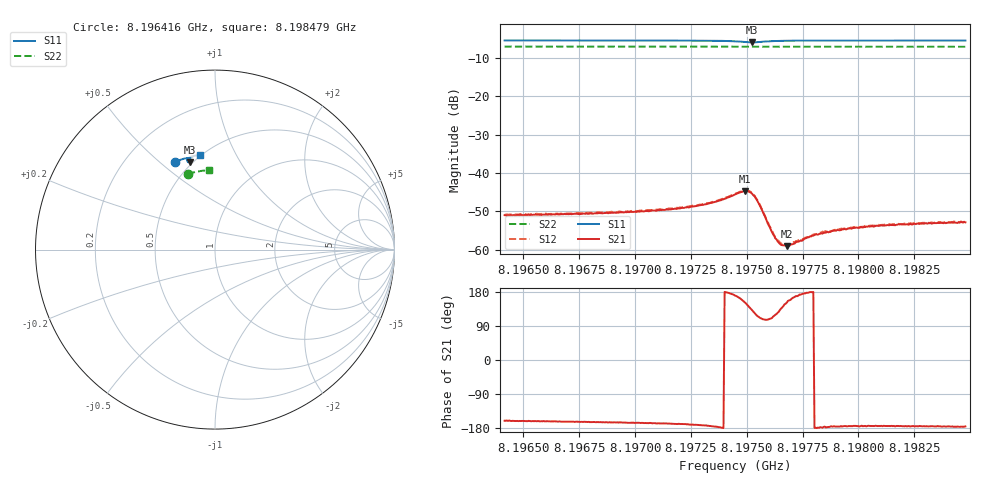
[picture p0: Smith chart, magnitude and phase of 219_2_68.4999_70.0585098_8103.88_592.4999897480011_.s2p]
#  HZ  S  RI  R  50.00
! Rohde & Schwarz Vector Network Analyzer
! Rohde-Schwarz,ZNB20-2Port,1311601062101988,3.16
! Created: UTC 3/20/2024, 5:13:34 PM
! freq[Hz]  re:S11  im:S11  re:S21  im:S21  re:S12  im:S12  re:S22  im:S22
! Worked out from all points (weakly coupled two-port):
!   401 points, 8.196416 GHz to 8.198479 GHz, reference 50 ohm
!   highest |S21| = -44.71 dB at 8.197494 GHz (marker M1); lowest = -59.0 dB at 8.19768 GHz (marker M2)
!   lowest |S11| = -5.9 dB at 8.197525 GHz (marker M3), VSWR 3.05, Z = 24.1 + j31.6 ohm
!   |S11| at or under -10 dB: nowhere
!   |S22| runs from -7.1 to -7.0 dB; largest |S21 - S12| = 0.0003
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8.1964161e9  -0.2208 0.489  -0.00266 -0.000951  -0.00275 -0.000858  -0.1501 0.4214
8.1967617e9  -0.1975 0.4985  -0.00282 -0.000857  -0.0029 -0.00075  -0.1315 0.4271
8.1971073e9  -0.1724 0.5067  -0.00319 -0.000722  -0.00332 -0.000591  -0.1125 0.4318
8.1972878e9  -0.1569 0.5101  -0.00375 -0.000554  -0.00385 -0.000419  -0.1025 0.4339
8.1973755e9  -0.1471 0.51  -0.00437 -0.000194  -0.00446 -9.58e-06  -0.0976 0.4348
8.1974477e9  -0.1369 0.505  -0.0052 0.000906  -0.00523 0.0011  -0.0935 0.4354
8.1974941e9  -0.134 0.4936  -0.00508 0.00284  -0.00507 0.0031  -0.091 0.4355
8.1975096e9  -0.1366 0.489  -0.00445 0.00361  -0.0044 0.00387  -0.0902 0.4355
8.1975251e9  -0.1416 0.4862  -0.00349 0.00405  -0.00336 0.00432  -0.0895 0.4356
8.1975405e9  -0.1473 0.4863  -0.0024 0.00406  -0.00227 0.00421  -0.0888 0.4358
8.197556e9  -0.1519 0.4891  -0.00151 0.00361  -0.00139 0.00377  -0.088 0.4361
8.1976076e9  -0.1545 0.5019  -0.000609 0.00174  -0.000561 0.00183  -0.0853 0.4368
8.1976282e9  -0.1527 0.5053  -0.00069 0.00123  -0.000639 0.00128  -0.084 0.4371
8.197654e9  -0.1502 0.5084  -0.00083 0.000806  -0.000834 0.00088  -0.0827 0.4375
8.1976798e9  -0.1476 0.5108  -0.000985 0.00053  -0.000995 0.000597  -0.0812 0.4376
8.1977004e9  -0.1454 0.5122  -0.00111 0.000386  -0.00114 0.00044  -0.0799 0.4378
8.1977933e9  -0.1368 0.5164  -0.00152 2.7e-05  -0.00154 6.78e-05  -0.0747 0.4387
8.1978448e9  -0.1324 0.5179  -0.00166 -0.000104  -0.0017 -2.12e-07  -0.0717 0.4391
8.1979222e9  -0.126 0.5197  -0.0018 -0.000173  -0.00188 -0.000111  -0.0675 0.4396
8.1981388e9  -0.1096 0.5236  -0.00208 -0.000207  -0.00215 -9.13e-05  -0.0553 0.441
8.1983606e9  -0.0935 0.5266  -0.00222 -0.000193  -0.0023 -9.5e-05  -0.0427 0.4419
8.1984793e9  -0.0848 0.528  -0.00227 -0.000192  -0.00229 -5.38e-05  -0.036 0.4423
